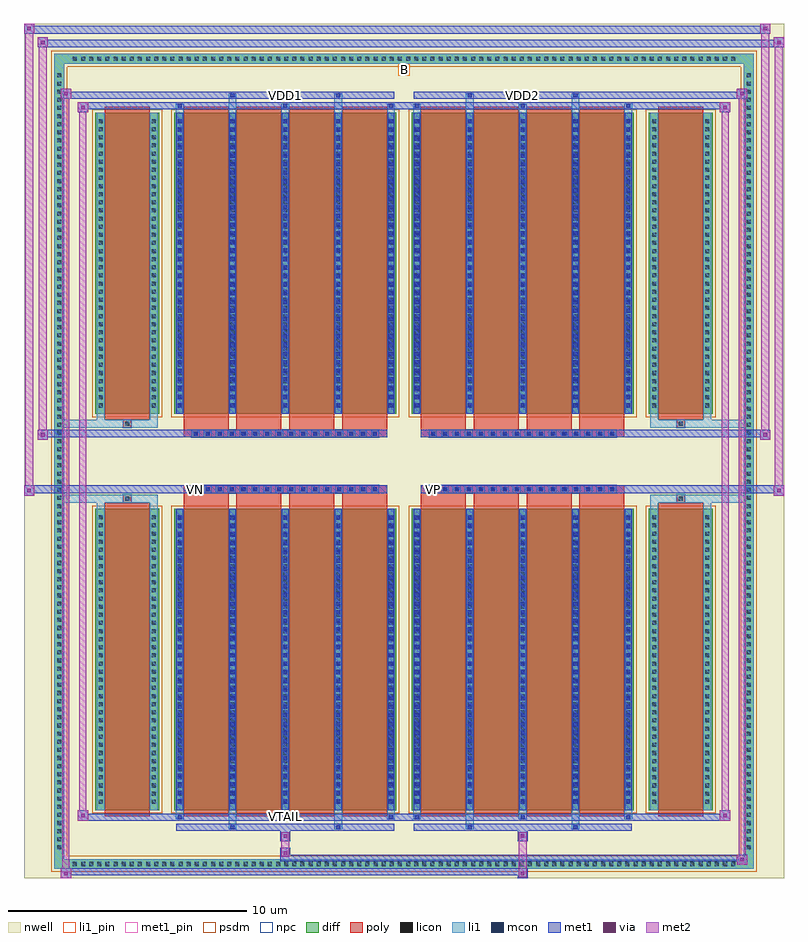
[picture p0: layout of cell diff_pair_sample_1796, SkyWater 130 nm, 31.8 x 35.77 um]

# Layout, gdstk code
import gdstk
lib = gdstk.Library(unit=1e-6, precision=5e-09)
def R(c, l, rs):  # rectangles x0, y0, x1, y1
    for r in rs: c.add(gdstk.rectangle(r[:2], r[2:], *l))
def A(c, l, x, y, w, h, nx, ny, dx, dy):  # array of equal rectangles
    R(c, l, [(x+i*dx, y+j*dy, x+i*dx+w, y+j*dy+h) for i in range(nx) for j in range(ny)])
def P(c, l, *ps):  # polygons
    for p in ps: c.add(gdstk.Polygon(p, *l))
nwell = (64, 20)
diff = (65, 20)
poly = (66, 20)
licon = (66, 44)
li1_pin = (67, 16)
li1 = (67, 20)
mcon = (67, 44)
met1_pin = (68, 16)
met1 = (68, 20)
via = (68, 44)
met2 = (69, 20)
psdm = (94, 20)
npc = (95, 20)

diff_pair_sample_1796 = lib.new_cell('diff_pair_sample_1796')
R(diff_pair_sample_1796, nwell, [(-15.9,-17.45,15.9,18.32), (-13.22,-15.64,-0.01,-0.8), (0.01,-15.64,13.22,-0.8), (-13.22,0.8,-0.01,15.64), (0.01,0.8,13.22,15.64)])
A(diff_pair_sample_1796, diff, -13.975, -17.05, 0.41, 0.41, 82, 2, 0.34, 33.69)
A(diff_pair_sample_1796, diff, -14.63, -16.355, 0.41, 0.41, 1, 96, 0, 0.34)
A(diff_pair_sample_1796, diff, 14.22, -16.355, 0.41, 0.41, 1, 96, 0, 0.34)
R(diff_pair_sample_1796, diff, [(-13.975,-17.05,13.975,-16.64), (-14.63,-16.355,-14.22,16.355), (14.22,-16.355,14.63,16.355), (-12.91,-14.595,-10.25,-1.985), (-9.61,-14.595,-0.32,-1.985), (0.32,-14.595,9.61,-1.985), (10.25,-14.595,12.91,-1.985), (-12.91,1.985,-10.25,14.595), (-9.61,1.985,-0.32,14.595), (0.32,1.985,9.61,14.595), (10.25,1.985,12.91,14.595), (-13.975,16.64,13.975,17.05)])
P(diff_pair_sample_1796, diff, [(14.63,17.05),(-14.63,17.05),(-14.63,-16.64),(-14.22,-16.64),(-14.22,16.64),(14.22,16.64),(14.22,-16.64),(-14.22,-16.64),(-14.63,-16.64),(-14.63,-17.05),(14.63,-17.05)])
A(diff_pair_sample_1796, poly, -9.22, -14.845, 1.88, 13.11, 4, 2, 2.21, 16.58)
A(diff_pair_sample_1796, poly, 0.71, -14.845, 1.88, 13.11, 4, 2, 2.21, 16.58)
A(diff_pair_sample_1796, poly, -9.22, -1.735, 1.88, 0.405, 4, 2, 2.21, 3.065)
A(diff_pair_sample_1796, poly, 0.71, -1.735, 1.88, 0.405, 4, 2, 2.21, 3.065)
A(diff_pair_sample_1796, poly, -8.88, -1.33, 0.33, 0.33, 16, 2, 0.5, 2.33)
A(diff_pair_sample_1796, poly, 1.05, -1.33, 0.33, 0.33, 16, 2, 0.5, 2.33)
R(diff_pair_sample_1796, poly, [(-12.52,-14.845,-10.64,-1.735), (10.64,-14.845,12.52,-1.735), (-11.745,-1.735,-11.415,-1.405), (-11.745,-1.735,-11.415,-1.405), (11.415,-1.735,11.745,-1.405), (11.415,-1.735,11.745,-1.405), (-9.22,-1.33,-0.71,-1), (0.71,-1.33,9.22,-1), (-9.22,1,-0.71,1.33), (0.71,1,9.22,1.33), (-11.745,1.405,-11.415,1.735), (-11.745,1.405,-11.415,1.735), (11.415,1.405,11.745,1.735), (11.415,1.405,11.745,1.735), (-12.52,1.735,-10.64,14.845), (10.64,1.735,12.52,14.845)])
A(diff_pair_sample_1796, licon, -13.855, -16.93, 0.17, 0.17, 82, 2, 0.34, 33.69)
A(diff_pair_sample_1796, licon, -14.51, -16.235, 0.17, 0.17, 1, 96, 0, 0.34)
A(diff_pair_sample_1796, licon, 14.34, -16.235, 0.17, 0.17, 1, 96, 0, 0.34)
A(diff_pair_sample_1796, licon, -12.77, -14.325, 0.17, 0.17, 1, 36, 0, 0.34)
A(diff_pair_sample_1796, licon, -10.56, -14.325, 0.17, 0.17, 1, 36, 0, 0.34)
A(diff_pair_sample_1796, licon, -9.47, -14.325, 0.17, 0.17, 5, 36, 2.21, 0.34)
A(diff_pair_sample_1796, licon, 0.46, -14.325, 0.17, 0.17, 5, 36, 2.21, 0.34)
A(diff_pair_sample_1796, licon, 10.39, -14.325, 0.17, 0.17, 1, 36, 0, 0.34)
A(diff_pair_sample_1796, licon, 12.6, -14.325, 0.17, 0.17, 1, 36, 0, 0.34)
A(diff_pair_sample_1796, licon, -8.8, -1.25, 0.17, 0.17, 16, 2, 0.5, 2.33)
A(diff_pair_sample_1796, licon, 1.13, -1.25, 0.17, 0.17, 16, 2, 0.5, 2.33)
A(diff_pair_sample_1796, licon, -12.77, 2.255, 0.17, 0.17, 1, 36, 0, 0.34)
A(diff_pair_sample_1796, licon, -10.56, 2.255, 0.17, 0.17, 1, 36, 0, 0.34)
A(diff_pair_sample_1796, licon, -9.47, 2.255, 0.17, 0.17, 5, 36, 2.21, 0.34)
A(diff_pair_sample_1796, licon, 0.46, 2.255, 0.17, 0.17, 5, 36, 2.21, 0.34)
A(diff_pair_sample_1796, licon, 10.39, 2.255, 0.17, 0.17, 1, 36, 0, 0.34)
A(diff_pair_sample_1796, licon, 12.6, 2.255, 0.17, 0.17, 1, 36, 0, 0.34)
R(diff_pair_sample_1796, licon, [(-11.665,-1.655,-11.495,-1.485), (11.495,-1.655,11.665,-1.485), (-11.665,1.485,-11.495,1.655), (11.495,1.485,11.665,1.655)])
R(diff_pair_sample_1796, li1_pin, [(-0.25,16.14,0.25,16.64)])
A(diff_pair_sample_1796, li1, -13.935, -17.01, 0.33, 0.33, 82, 2, 0.34, 33.69)
A(diff_pair_sample_1796, li1, -14.59, -16.315, 0.33, 0.33, 1, 96, 0, 0.34)
A(diff_pair_sample_1796, li1, 14.26, -16.315, 0.33, 0.33, 1, 96, 0, 0.34)
A(diff_pair_sample_1796, li1, -9.55, -14.97, 0.33, 0.375, 3, 2, 4.42, 29.565)
A(diff_pair_sample_1796, li1, -9.47, -14.97, 0.17, 0.17, 3, 2, 4.42, 29.77)
A(diff_pair_sample_1796, li1, 0.38, -14.97, 0.33, 0.375, 3, 2, 4.42, 29.565)
A(diff_pair_sample_1796, li1, 0.46, -14.97, 0.17, 0.17, 3, 2, 4.42, 29.77)
A(diff_pair_sample_1796, li1, -9.55, -14.595, 0.33, 12.61, 5, 2, 2.21, 16.58)
A(diff_pair_sample_1796, li1, 0.38, -14.595, 0.33, 12.61, 5, 2, 2.21, 16.58)
A(diff_pair_sample_1796, li1, -12.85, -14.405, 0.33, 0.33, 1, 36, 0, 0.34)
A(diff_pair_sample_1796, li1, -10.64, -14.405, 0.33, 0.33, 1, 36, 0, 0.34)
A(diff_pair_sample_1796, li1, -9.55, -14.405, 0.33, 0.33, 5, 36, 2.21, 0.34)
A(diff_pair_sample_1796, li1, 0.38, -14.405, 0.33, 0.33, 5, 36, 2.21, 0.34)
A(diff_pair_sample_1796, li1, 10.31, -14.405, 0.33, 0.33, 1, 36, 0, 0.34)
A(diff_pair_sample_1796, li1, 12.52, -14.405, 0.33, 0.33, 1, 36, 0, 0.34)
A(diff_pair_sample_1796, li1, -9.47, -14.315, 0.17, 0.17, 5, 34, 2.21, 0.36)
A(diff_pair_sample_1796, li1, -9.47, -14.315, 0.17, 12.05, 5, 2, 2.21, 16.58)
A(diff_pair_sample_1796, li1, 0.46, -14.315, 0.17, 0.17, 5, 34, 2.21, 0.36)
A(diff_pair_sample_1796, li1, 0.46, -14.315, 0.17, 12.05, 5, 2, 2.21, 16.58)
A(diff_pair_sample_1796, li1, -8.88, -1.33, 0.33, 0.33, 16, 2, 0.5, 2.33)
A(diff_pair_sample_1796, li1, 1.05, -1.33, 0.33, 0.33, 16, 2, 0.5, 2.33)
A(diff_pair_sample_1796, li1, -12.85, 2.175, 0.33, 0.33, 1, 36, 0, 0.34)
A(diff_pair_sample_1796, li1, -10.64, 2.175, 0.33, 0.33, 1, 36, 0, 0.34)
A(diff_pair_sample_1796, li1, -9.55, 2.175, 0.33, 0.33, 5, 36, 2.21, 0.34)
A(diff_pair_sample_1796, li1, 0.38, 2.175, 0.33, 0.33, 5, 36, 2.21, 0.34)
A(diff_pair_sample_1796, li1, 10.31, 2.175, 0.33, 0.33, 1, 36, 0, 0.34)
A(diff_pair_sample_1796, li1, 12.52, 2.175, 0.33, 0.33, 1, 36, 0, 0.34)
A(diff_pair_sample_1796, li1, -9.47, 2.265, 0.17, 0.17, 5, 34, 2.21, 0.36)
A(diff_pair_sample_1796, li1, 0.46, 2.265, 0.17, 0.17, 5, 34, 2.21, 0.36)
R(diff_pair_sample_1796, li1, [(-14.63,-17.05,-14.22,-16.64), (-14.63,-17.05,-14.22,-16.64), (-14.22,-17.05,14.22,-16.64), (14.22,-17.05,14.63,-16.64), (14.22,-17.05,14.63,-16.64), (-14.63,-16.64,-14.22,16.64), (14.22,-16.64,14.63,16.64), (-7.34,-15.4,-7.01,-14.595), (-7.26,-15.4,-7.09,-15.23), (-2.92,-15.4,-2.59,-14.595), (-2.84,-15.4,-2.67,-15.23), (2.59,-15.4,2.92,-14.595), (2.67,-15.4,2.84,-15.23), (7.01,-15.4,7.34,-14.595), (7.09,-15.4,7.26,-15.23), (-12.85,-14.595,-12.52,-1.985), (-10.64,-14.595,-10.31,-1.985), (10.31,-14.595,10.64,-1.985), (12.52,-14.595,12.85,-1.985), (-12.85,-1.985,-12.52,-1.405), (-10.64,-1.985,-10.31,-1.405), (10.31,-1.985,10.64,-1.405), (12.52,-1.985,12.85,-1.405), (-14.63,-1.735,-11.745,-1.405), (-12.85,-1.735,-11.745,-1.405), (-11.745,-1.735,-11.415,-1.405), (-11.415,-1.735,-10.31,-1.405), (10.31,-1.735,11.415,-1.405), (11.415,-1.735,11.745,-1.405), (11.415,-1.735,14.63,-1.405), (11.745,-1.735,12.85,-1.405), (-14.63,1.405,-11.745,1.735), (-12.85,1.405,-11.745,1.735), (-12.85,1.405,-12.52,1.985), (-11.745,1.405,-11.415,1.735), (-11.415,1.405,-10.31,1.735), (-10.64,1.405,-10.31,1.985), (10.31,1.405,11.415,1.735), (10.31,1.405,10.64,1.985), (11.415,1.405,11.745,1.735), (11.415,1.405,14.63,1.735), (11.745,1.405,12.85,1.735), (12.52,1.405,12.85,1.985), (-12.85,1.985,-12.52,14.595), (-10.64,1.985,-10.31,14.595), (10.31,1.985,10.64,14.595), (12.52,1.985,12.85,14.595), (-7.34,14.595,-7.01,15.4), (-2.92,14.595,-2.59,15.4), (2.59,14.595,2.92,15.4), (7.01,14.595,7.34,15.4), (-7.26,15.23,-7.09,15.4), (-2.84,15.23,-2.67,15.4), (2.67,15.23,2.84,15.4), (7.09,15.23,7.26,15.4), (-14.63,16.64,-14.22,17.05), (-14.63,16.64,-14.22,17.05), (-14.22,16.64,14.22,17.05), (14.22,16.64,14.63,17.05), (14.22,16.64,14.63,17.05)])
A(diff_pair_sample_1796, mcon, -9.47, -14.97, 0.17, 0.17, 3, 2, 4.42, 29.77)
A(diff_pair_sample_1796, mcon, 0.46, -14.97, 0.17, 0.17, 3, 2, 4.42, 29.77)
A(diff_pair_sample_1796, mcon, -9.47, -14.315, 0.17, 0.17, 5, 34, 2.21, 0.36)
A(diff_pair_sample_1796, mcon, 0.46, -14.315, 0.17, 0.17, 5, 34, 2.21, 0.36)
A(diff_pair_sample_1796, mcon, -8.8, -1.25, 0.17, 0.17, 16, 2, 0.5, 2.33)
A(diff_pair_sample_1796, mcon, 1.13, -1.25, 0.17, 0.17, 16, 2, 0.5, 2.33)
A(diff_pair_sample_1796, mcon, -9.47, 2.265, 0.17, 0.17, 5, 34, 2.21, 0.36)
A(diff_pair_sample_1796, mcon, 0.46, 2.265, 0.17, 0.17, 5, 34, 2.21, 0.36)
R(diff_pair_sample_1796, mcon, [(-7.26,-15.4,-7.09,-15.23), (-2.84,-15.4,-2.67,-15.23), (2.67,-15.4,2.84,-15.23), (7.09,-15.4,7.26,-15.23), (-7.26,15.23,-7.09,15.4), (-2.84,15.23,-2.67,15.4), (2.67,15.23,2.84,15.4), (7.09,15.23,7.26,15.4)])
R(diff_pair_sample_1796, met1_pin, [(-5.1,-15.01,-4.83,-14.74), (-8.85,-1.29,-8.58,-1.02), (1.08,-1.29,1.35,-1.02), (-5.1,15.19,-4.83,15.46), (4.83,15.19,5.1,15.46)])
A(diff_pair_sample_1796, met1, -9.53, -15.03, 0.29, 0.29, 3, 2, 4.42, 29.77)
A(diff_pair_sample_1796, met1, 0.4, -15.03, 0.29, 0.29, 3, 2, 4.42, 29.77)
A(diff_pair_sample_1796, met1, -9.53, -14.595, 0.29, 12.61, 5, 2, 2.21, 16.58)
A(diff_pair_sample_1796, met1, 0.4, -14.595, 0.29, 12.61, 5, 2, 2.21, 16.58)
A(diff_pair_sample_1796, met1, -9.53, -14.375, 0.29, 0.29, 5, 34, 2.21, 0.36)
A(diff_pair_sample_1796, met1, 0.4, -14.375, 0.29, 0.29, 5, 34, 2.21, 0.36)
A(diff_pair_sample_1796, met1, -8.86, -1.31, 0.29, 0.29, 16, 2, 0.5, 2.33)
A(diff_pair_sample_1796, met1, 1.07, -1.31, 0.29, 0.29, 16, 2, 0.5, 2.33)
A(diff_pair_sample_1796, met1, -9.53, 2.205, 0.29, 0.29, 5, 34, 2.21, 0.36)
A(diff_pair_sample_1796, met1, 0.4, 2.205, 0.29, 0.29, 5, 34, 2.21, 0.36)
R(diff_pair_sample_1796, met1, [(-14.36,-17.45,-13.93,-17.02), (4.75,-17.45,5.18,-17.02), (-14.36,-17.31,5.18,-17.02), (13.93,-16.88,14.36,-16.45), (-5.18,-16.74,14.36,-16.45), (-5.18,-16.6,-4.75,-16.17), (-5.18,-15.89,-4.75,-15.46), (4.75,-15.89,5.18,-15.46), (-9.53,-15.46,-0.4,-15.17), (-7.32,-15.46,-7.03,-15.17), (-2.9,-15.46,-2.61,-15.17), (0.4,-15.46,9.53,-15.17), (2.61,-15.46,2.9,-15.17), (7.03,-15.46,7.32,-15.17), (-13.65,-15.03,-13.22,-14.6), (-13.65,-15.03,-9.53,-14.74), (-9.53,-15.03,-0.4,-14.74), (-0.4,-15.03,0.4,-14.74), (0.4,-15.03,9.53,-14.74), (9.53,-15.03,13.65,-14.74), (13.22,-15.03,13.65,-14.6), (-15.9,-1.43,-15.47,-1), (15.47,-1.43,15.9,-1), (-15.9,-1.33,-0.71,-1), (-9.22,-1.33,-0.71,-1), (0.71,-1.33,9.22,-1), (0.71,-1.33,15.9,-1), (-15.33,0.9,-14.9,1.33), (14.9,0.9,15.33,1.33), (-15.33,1,-9.22,1.33), (-9.22,1,-0.71,1.33), (0.71,1,9.22,1.33), (9.22,1,15.33,1.33), (-13.65,14.6,-13.22,15.03), (13.22,14.6,13.65,15.03), (-13.65,14.74,-9.53,15.03), (-9.53,14.74,-0.4,15.03), (-0.4,14.74,0.4,15.03), (0.4,14.74,9.53,15.03), (9.53,14.74,13.65,15.03), (-14.36,15.17,-13.93,15.6), (-14.36,15.17,-9.53,15.46), (-9.53,15.17,-0.4,15.46), (-7.32,15.17,-7.03,15.46), (-2.9,15.17,-2.61,15.46), (0.4,15.17,9.53,15.46), (2.61,15.17,2.9,15.46), (7.03,15.17,7.32,15.46), (9.53,15.17,14.36,15.46), (13.93,15.17,14.36,15.6), (-15.33,17.32,-14.9,17.75), (-15.33,17.32,-13.22,17.65), (-13.22,17.32,13.22,17.65), (13.22,17.32,15.9,17.65), (15.47,17.32,15.9,17.75), (-15.9,17.89,-15.47,18.32), (-15.9,17.89,-13.22,18.22), (-13.22,17.89,13.22,18.22), (13.22,17.89,15.33,18.22), (14.9,17.89,15.33,18.32)])
R(diff_pair_sample_1796, via, [(-14.22,-17.31,-14.07,-17.16), (4.89,-17.31,5.04,-17.16), (14.07,-16.74,14.22,-16.59), (-5.04,-16.46,-4.89,-16.31), (-5.04,-15.75,-4.89,-15.6), (4.89,-15.75,5.04,-15.6), (-13.51,-14.89,-13.36,-14.74), (13.36,-14.89,13.51,-14.74), (-15.76,-1.29,-15.61,-1.14), (15.61,-1.29,15.76,-1.14), (-15.19,1.04,-15.04,1.19), (15.04,1.04,15.19,1.19), (-13.51,14.74,-13.36,14.89), (13.36,14.74,13.51,14.89), (-14.22,15.31,-14.07,15.46), (14.07,15.31,14.22,15.46), (-15.19,17.46,-15.04,17.61), (15.61,17.46,15.76,17.61), (-15.76,18.03,-15.61,18.18), (15.04,18.03,15.19,18.18)])
R(diff_pair_sample_1796, met2, [(-14.36,-17.45,-13.93,-17.02), (-14.29,-17.45,-14,15.6), (-14,-17.45,-13.93,-17.02), (-14.31,-17.4,-13.98,-17.07), (4.8,-17.4,5.13,-17.07), (4.8,-17.07,5.13,-15.84), (13.93,-16.88,14.36,-16.45), (14,-16.88,14.29,15.6), (14.29,-16.88,14.36,-16.45), (13.98,-16.83,14.31,-16.5), (-5.13,-16.55,-4.8,-16.22), (-5.13,-16.22,-4.8,-15.84), (-5.13,-15.84,-4.8,-15.51), (4.8,-15.84,5.13,-15.51), (-13.65,-15.03,-13.22,-14.6), (-13.58,-15.03,-13.29,15.03), (-13.29,-15.03,-13.22,-14.6), (13.22,-15.03,13.65,-14.6), (13.29,-15.03,13.58,15.03), (13.58,-15.03,13.65,-14.6), (-13.6,-14.98,-13.27,-14.65), (13.27,-14.98,13.6,-14.65), (-15.9,-1.43,-15.47,-1), (-15.85,-1.43,-15.52,18.32), (-15.52,-1.43,-15.47,-1), (15.47,-1.43,15.9,-1), (15.52,-1.43,15.85,17.75), (15.85,-1.43,15.9,-1), (-15.85,-1.38,-15.52,-1.05), (15.52,-1.38,15.85,-1.05), (-15.33,0.9,-14.9,1.33), (-15.28,0.9,-14.95,17.75), (-14.95,0.9,-14.9,1.33), (14.9,0.9,15.33,1.33), (14.95,0.9,15.28,18.32), (15.28,0.9,15.33,1.33), (-15.28,0.95,-14.95,1.28), (14.95,0.95,15.28,1.28), (-13.65,14.6,-13.22,15.03), (-13.29,14.6,-13.22,15.03), (13.22,14.6,13.65,15.03), (13.58,14.6,13.65,15.03), (-13.6,14.65,-13.27,14.98), (13.27,14.65,13.6,14.98), (-14.36,15.17,-13.93,15.6), (-14,15.17,-13.93,15.6), (13.93,15.17,14.36,15.6), (14.29,15.17,14.36,15.6), (-14.31,15.22,-13.98,15.55), (13.98,15.22,14.31,15.55), (-15.33,17.32,-14.9,17.75), (-14.95,17.32,-14.9,17.75), (15.47,17.32,15.9,17.75), (15.85,17.32,15.9,17.75), (-15.28,17.37,-14.95,17.7), (15.52,17.37,15.85,17.7), (-15.9,17.89,-15.47,18.32), (-15.52,17.89,-15.47,18.32), (14.9,17.89,15.33,18.32), (15.28,17.89,15.33,18.32), (-15.85,17.94,-15.52,18.27), (14.95,17.94,15.28,18.27)])
R(diff_pair_sample_1796, psdm, [(-13.04,-14.725,-10.12,-1.855), (-9.74,-14.725,-0.19,-1.855), (0.19,-14.725,9.74,-1.855), (10.12,-14.725,13.04,-1.855), (-13.04,1.855,-10.12,14.725), (-9.74,1.855,-0.19,14.725), (0.19,1.855,9.74,14.725), (10.12,1.855,13.04,14.725)])
P(diff_pair_sample_1796, psdm, [(14.76,17.18),(-14.76,17.18),(-14.76,-16.51),(-14.09,-16.51),(-14.09,16.51),(14.09,16.51),(14.09,-16.51),(-14.09,-16.51),(-14.76,-16.51),(-14.76,-17.18),(14.76,-17.18)])
A(diff_pair_sample_1796, npc, -8.9, -1.35, 0.37, 0.37, 16, 2, 0.5, 2.33)
A(diff_pair_sample_1796, npc, 1.03, -1.35, 0.37, 0.37, 16, 2, 0.5, 2.33)
R(diff_pair_sample_1796, npc, [(-11.765,-1.755,-11.395,-1.385), (11.395,-1.755,11.765,-1.385), (-8.9,-1.35,-8.03,-0.98), (-8.9,-1.35,-8.03,-0.98), (-8.4,-1.35,-7.53,-0.98), (-8.4,-1.35,-7.53,-0.98), (-7.9,-1.35,-7.03,-0.98), (-7.9,-1.35,-7.03,-0.98), (-7.4,-1.35,-6.53,-0.98), (-7.4,-1.35,-6.53,-0.98), (-6.9,-1.35,-6.03,-0.98), (-6.9,-1.35,-6.03,-0.98), (-6.4,-1.35,-5.53,-0.98), (-6.4,-1.35,-5.53,-0.98), (-5.9,-1.35,-5.03,-0.98), (-5.9,-1.35,-5.03,-0.98), (-5.4,-1.35,-4.53,-0.98), (-5.4,-1.35,-4.53,-0.98), (-4.9,-1.35,-4.03,-0.98), (-4.9,-1.35,-4.03,-0.98), (-4.4,-1.35,-3.53,-0.98), (-4.4,-1.35,-3.53,-0.98), (-3.9,-1.35,-3.03,-0.98), (-3.9,-1.35,-3.03,-0.98), (-3.4,-1.35,-2.53,-0.98), (-3.4,-1.35,-2.53,-0.98), (-2.9,-1.35,-2.03,-0.98), (-2.9,-1.35,-2.03,-0.98), (-2.4,-1.35,-1.53,-0.98), (-2.4,-1.35,-1.53,-0.98), (-1.9,-1.35,-1.03,-0.98), (-1.9,-1.35,-1.03,-0.98), (1.03,-1.35,1.9,-0.98), (1.03,-1.35,1.9,-0.98), (1.53,-1.35,2.4,-0.98), (1.53,-1.35,2.4,-0.98), (2.03,-1.35,2.9,-0.98), (2.03,-1.35,2.9,-0.98), (2.53,-1.35,3.4,-0.98), (2.53,-1.35,3.4,-0.98), (3.03,-1.35,3.9,-0.98), (3.03,-1.35,3.9,-0.98), (3.53,-1.35,4.4,-0.98), (3.53,-1.35,4.4,-0.98), (4.03,-1.35,4.9,-0.98), (4.03,-1.35,4.9,-0.98), (4.53,-1.35,5.4,-0.98), (4.53,-1.35,5.4,-0.98), (5.03,-1.35,5.9,-0.98), (5.03,-1.35,5.9,-0.98), (5.53,-1.35,6.4,-0.98), (5.53,-1.35,6.4,-0.98), (6.03,-1.35,6.9,-0.98), (6.03,-1.35,6.9,-0.98), (6.53,-1.35,7.4,-0.98), (6.53,-1.35,7.4,-0.98), (7.03,-1.35,7.9,-0.98), (7.03,-1.35,7.9,-0.98), (7.53,-1.35,8.4,-0.98), (7.53,-1.35,8.4,-0.98), (8.03,-1.35,8.9,-0.98), (8.03,-1.35,8.9,-0.98), (-8.9,0.98,-8.03,1.35), (-8.9,0.98,-8.03,1.35), (-8.4,0.98,-7.53,1.35), (-8.4,0.98,-7.53,1.35), (-7.9,0.98,-7.03,1.35), (-7.9,0.98,-7.03,1.35), (-7.4,0.98,-6.53,1.35), (-7.4,0.98,-6.53,1.35), (-6.9,0.98,-6.03,1.35), (-6.9,0.98,-6.03,1.35), (-6.4,0.98,-5.53,1.35), (-6.4,0.98,-5.53,1.35), (-5.9,0.98,-5.03,1.35), (-5.9,0.98,-5.03,1.35), (-5.4,0.98,-4.53,1.35), (-5.4,0.98,-4.53,1.35), (-4.9,0.98,-4.03,1.35), (-4.9,0.98,-4.03,1.35), (-4.4,0.98,-3.53,1.35), (-4.4,0.98,-3.53,1.35), (-3.9,0.98,-3.03,1.35), (-3.9,0.98,-3.03,1.35), (-3.4,0.98,-2.53,1.35), (-3.4,0.98,-2.53,1.35), (-2.9,0.98,-2.03,1.35), (-2.9,0.98,-2.03,1.35), (-2.4,0.98,-1.53,1.35), (-2.4,0.98,-1.53,1.35), (-1.9,0.98,-1.03,1.35), (-1.9,0.98,-1.03,1.35), (1.03,0.98,1.9,1.35), (1.03,0.98,1.9,1.35), (1.53,0.98,2.4,1.35), (1.53,0.98,2.4,1.35), (2.03,0.98,2.9,1.35), (2.03,0.98,2.9,1.35), (2.53,0.98,3.4,1.35), (2.53,0.98,3.4,1.35), (3.03,0.98,3.9,1.35), (3.03,0.98,3.9,1.35), (3.53,0.98,4.4,1.35), (3.53,0.98,4.4,1.35), (4.03,0.98,4.9,1.35), (4.03,0.98,4.9,1.35), (4.53,0.98,5.4,1.35), (4.53,0.98,5.4,1.35), (5.03,0.98,5.9,1.35), (5.03,0.98,5.9,1.35), (5.53,0.98,6.4,1.35), (5.53,0.98,6.4,1.35), (6.03,0.98,6.9,1.35), (6.03,0.98,6.9,1.35), (6.53,0.98,7.4,1.35), (6.53,0.98,7.4,1.35), (7.03,0.98,7.9,1.35), (7.03,0.98,7.9,1.35), (7.53,0.98,8.4,1.35), (7.53,0.98,8.4,1.35), (8.03,0.98,8.9,1.35), (8.03,0.98,8.9,1.35), (-11.765,1.385,-11.395,1.755), (11.395,1.385,11.765,1.755)])
diff_pair_sample_1796.add(gdstk.Label('VTAIL', (-4.965,-14.875), layer=68, texttype=5))
diff_pair_sample_1796.add(gdstk.Label('VN', (-8.715,-1.155), layer=68, texttype=5))
diff_pair_sample_1796.add(gdstk.Label('VP', (1.215,-1.155), layer=68, texttype=5))
diff_pair_sample_1796.add(gdstk.Label('B', (0,16.39), layer=67, texttype=5))
diff_pair_sample_1796.add(gdstk.Label('VDD2', (4.965,15.325), layer=68, texttype=5))
diff_pair_sample_1796.add(gdstk.Label('VDD1', (-4.965,15.325), layer=68, texttype=5))

lib.write_gds('diff_pair_sample_1796.gds')
